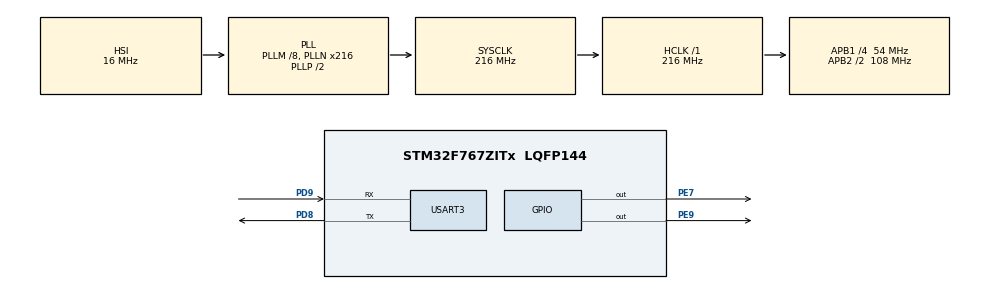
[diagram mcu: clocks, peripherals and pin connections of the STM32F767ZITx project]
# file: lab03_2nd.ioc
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Mcu.Family=STM32F7
Mcu.Name=STM32F767ZITx
Mcu.Package=LQFP144
NVIC.PriorityGroup=NVIC_PRIORITYGROUP_4
PD8.Mode=Asynchronous
PD8.Signal=USART3_TX
PD9.Mode=Asynchronous
PD9.Signal=USART3_RX
PE7.Signal=GPIO_Output
PE9.Signal=GPIO_Output
ProjectManager.HeapSize=0x200
ProjectManager.StackSize=0x400
ProjectManager.TargetToolchain=STM32CubeIDE
RCC.AHBFreq_Value=216000000
RCC.APB1CLKDivider=RCC_HCLK_DIV4
RCC.APB1Freq_Value=54000000
RCC.APB1TimFreq_Value=108000000
RCC.APB2CLKDivider=RCC_HCLK_DIV2
RCC.APB2Freq_Value=108000000
RCC.APB2TimFreq_Value=216000000
RCC.CortexFreq_Value=216000000
RCC.HCLKFreq_Value=216000000
RCC.HSE_VALUE=25000000
RCC.HSI_VALUE=16000000
RCC.LSE_VALUE=32768
RCC.PLLM=8
RCC.PLLN=216
RCC.SYSCLKFreq_VALUE=216000000
RCC.SYSCLKSource=RCC_SYSCLKSOURCE_PLLCLK
RCC.USBFreq_Value=216000000
RCC.VCOOutputFreq_Value=432000000
USART3.VirtualMode-Asynchronous=VM_ASYNC
board=custom

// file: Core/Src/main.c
/* USER CODE BEGIN Header */
/**
  ******************************************************************************
  * @file           : main.c
  * @brief          : Main program body
  ******************************************************************************
  * @attention
  *
  * Copyright (c) 2023 STMicroelectronics.
  * All rights reserved.
  *
  * This software is licensed under terms that can be found in the LICENSE file
  * in the root directory of this software component.
  * If no LICENSE file comes with this software, it is provided AS-IS.
  *
  ******************************************************************************
  */
/* USER CODE END Header */
#include "main.h"

/* USER CODE BEGIN Includes */
#include "string.h"
/* USER CODE END Includes */

UART_HandleTypeDef huart3;

void SystemClock_Config(void);
static void MX_GPIO_Init(void);
static void MX_USART3_UART_Init(void);

int main(void)
{

  /* MCU Configuration--------------------------------------------------------*/

  /* Reset of all peripherals, Initializes the Flash interface and the Systick. */
  HAL_Init();

  /* Configure the system clock */
  SystemClock_Config();

  /* Initialize all configured peripherals */
  MX_GPIO_Init();
  MX_USART3_UART_Init();

  /* Infinite loop */
  while (1)
  {

    /* USER CODE BEGIN 3 */
	char send[] = "Input =>";
	while(__HAL_UART_GET_FLAG(&huart3,UART_FLAG_TC)==RESET){}
	HAL_UART_Transmit(&huart3, (uint8_t*) send, strlen(send),1000);

	char receive[2] = {0,'\n'};
	while(__HAL_UART_GET_FLAG(&huart3,UART_FLAG_RXNE)== RESET){}
	HAL_UART_Receive(&huart3, (uint8_t*) receive, 1, 1000);

	while(__HAL_UART_GET_FLAG(&huart3,UART_FLAG_TC)==RESET){}
	HAL_UART_Transmit(&huart3, (uint8_t*) receive, strlen(receive),1000);

	if(receive[0] == 'q'){
		char sendquit[] = "Quit";
		HAL_UART_Transmit(&huart3, (uint8_t*) sendquit, strlen(sendquit),1000);
		break;
	}
	else if(receive[0] == 'm'){
		char names[] = "64010927\nSuppanut Kulkamthorn\n64010942\nSaksopon Pimkaew\n64010895\nSirapatr chalermwattanatrai\n";
		HAL_UART_Transmit(&huart3, (uint8_t*) names, strlen(names),1000);
	}
	else if(receive[0] == '1' || receive[0] == '2'){
		uint16_t pin = (receive[0] == '1')?GPIO_PIN_7:GPIO_PIN_9;
		for(int i=0;i<3;i++){
			HAL_GPIO_WritePin(GPIOE, pin, GPIO_PIN_SET);
			HAL_Delay(500);
			HAL_GPIO_WritePin(GPIOE, pin, GPIO_PIN_RESET);
			HAL_Delay(500);
		}
	}
	else{
		char nope[] = "Unknown Command\n";
		HAL_UART_Transmit(&huart3, (uint8_t*) nope, strlen(nope),1000);
	}
  }
  /* USER CODE END 3 */
}

void SystemClock_Config(void)
{
  RCC_OscInitTypeDef RCC_OscInitStruct = {0};
  RCC_ClkInitTypeDef RCC_ClkInitStruct = {0};

  /** Configure the main internal regulator output voltage
  */
  __HAL_RCC_PWR_CLK_ENABLE();
  __HAL_PWR_VOLTAGESCALING_CONFIG(PWR_REGULATOR_VOLTAGE_SCALE1);

  /** Initializes the RCC Oscillators according to the specified parameters
  * in the RCC_OscInitTypeDef structure.
  */
  RCC_OscInitStruct.OscillatorType = RCC_OSCILLATORTYPE_HSI;
  RCC_OscInitStruct.HSIState = RCC_HSI_ON;
  RCC_OscInitStruct.HSICalibrationValue = RCC_HSICALIBRATION_DEFAULT;
  RCC_OscInitStruct.PLL.PLLState = RCC_PLL_ON;
  RCC_OscInitStruct.PLL.PLLSource = RCC_PLLSOURCE_HSI;
  RCC_OscInitStruct.PLL.PLLM = 8;
  RCC_OscInitStruct.PLL.PLLN = 216;
  RCC_OscInitStruct.PLL.PLLP = RCC_PLLP_DIV2;
  RCC_OscInitStruct.PLL.PLLQ = 2;
  RCC_OscInitStruct.PLL.PLLR = 2;
  if (HAL_RCC_OscConfig(&RCC_OscInitStruct) != HAL_OK)
  {
    Error_Handler();
  }

  /** Activate the Over-Drive mode
  */
  if (HAL_PWREx_EnableOverDrive() != HAL_OK)
  {
    Error_Handler();
  }

  /** Initializes the CPU, AHB and APB buses clocks
  */
  RCC_ClkInitStruct.ClockType = RCC_CLOCKTYPE_HCLK|RCC_CLOCKTYPE_SYSCLK
                              |RCC_CLOCKTYPE_PCLK1|RCC_CLOCKTYPE_PCLK2;
  RCC_ClkInitStruct.SYSCLKSource = RCC_SYSCLKSOURCE_PLLCLK;
  RCC_ClkInitStruct.AHBCLKDivider = RCC_SYSCLK_DIV1;
  RCC_ClkInitStruct.APB1CLKDivider = RCC_HCLK_DIV4;
  RCC_ClkInitStruct.APB2CLKDivider = RCC_HCLK_DIV2;

  if (HAL_RCC_ClockConfig(&RCC_ClkInitStruct, FLASH_LATENCY_7) != HAL_OK)
  {
    Error_Handler();
  }
}

static void MX_USART3_UART_Init(void)
{

  huart3.Instance = USART3;
  huart3.Init.BaudRate = 115200;
  huart3.Init.WordLength = UART_WORDLENGTH_8B;
  huart3.Init.StopBits = UART_STOPBITS_1;
  huart3.Init.Parity = UART_PARITY_NONE;
  huart3.Init.Mode = UART_MODE_TX_RX;
  huart3.Init.HwFlowCtl = UART_HWCONTROL_NONE;
  huart3.Init.OverSampling = UART_OVERSAMPLING_16;
  huart3.Init.OneBitSampling = UART_ONE_BIT_SAMPLE_DISABLE;
  huart3.AdvancedInit.AdvFeatureInit = UART_ADVFEATURE_NO_INIT;
  if (HAL_UART_Init(&huart3) != HAL_OK)
  {
    Error_Handler();
  }

}

static void MX_GPIO_Init(void)
{
  GPIO_InitTypeDef GPIO_InitStruct = {0};

  /* GPIO Ports Clock Enable */
  __HAL_RCC_GPIOE_CLK_ENABLE();
  __HAL_RCC_GPIOD_CLK_ENABLE();

  /*Configure GPIO pin Output Level */
  HAL_GPIO_WritePin(GPIOE, GPIO_PIN_7|GPIO_PIN_9, GPIO_PIN_RESET);

  /*Configure GPIO pins : PE7 PE9 */
  GPIO_InitStruct.Pin = GPIO_PIN_7|GPIO_PIN_9;
  GPIO_InitStruct.Mode = GPIO_MODE_OUTPUT_PP;
  GPIO_InitStruct.Pull = GPIO_NOPULL;
  GPIO_InitStruct.Speed = GPIO_SPEED_FREQ_LOW;
  HAL_GPIO_Init(GPIOE, &GPIO_InitStruct);

}

void Error_Handler(void)
{
  __disable_irq();
  while (1)
  {
  }
}
